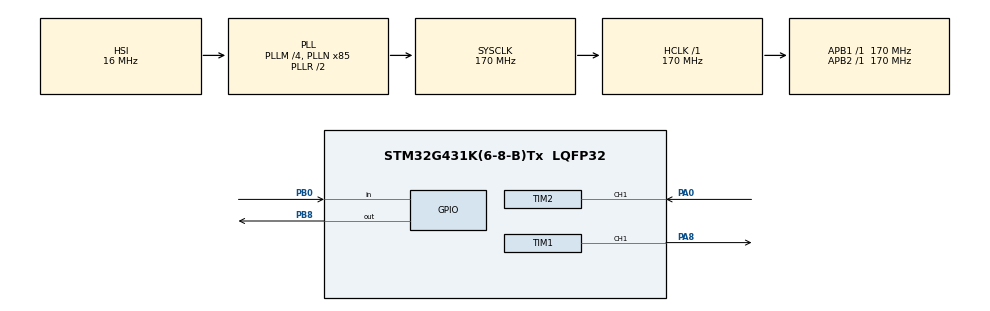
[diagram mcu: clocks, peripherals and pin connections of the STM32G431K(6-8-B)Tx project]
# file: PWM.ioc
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Dma.Request0=TIM1_CH1
Dma.TIM1_CH1.0.Direction=DMA_PERIPH_TO_MEMORY
Dma.TIM1_CH1.0.EventEnable=DISABLE
Dma.TIM1_CH1.0.Instance=DMA1_Channel1
Dma.TIM1_CH1.0.MemDataAlignment=DMA_MDATAALIGN_HALFWORD
Dma.TIM1_CH1.0.MemInc=DMA_MINC_ENABLE
Dma.TIM1_CH1.0.Mode=DMA_NORMAL
Dma.TIM1_CH1.0.PeriphDataAlignment=DMA_PDATAALIGN_HALFWORD
Dma.TIM1_CH1.0.PeriphInc=DMA_PINC_DISABLE
Dma.TIM1_CH1.0.Polarity=HAL_DMAMUX_REQ_GEN_RISING
Dma.TIM1_CH1.0.Priority=DMA_PRIORITY_LOW
Dma.TIM1_CH1.0.RequestNumber=1
Dma.TIM1_CH1.0.SignalID=NONE
Dma.TIM1_CH1.0.SyncEnable=DISABLE
Dma.TIM1_CH1.0.SyncPolarity=HAL_DMAMUX_SYNC_NO_EVENT
Dma.TIM1_CH1.0.SyncRequestNumber=1
Dma.TIM1_CH1.0.SyncSignalID=NONE
Mcu.Family=STM32G4
Mcu.Name=STM32G431K(6-8-B)Tx
Mcu.Package=LQFP32
NUCLEO-G431KB.LD2=true
NUCLEO-G431KB.VCP=true
NVIC.DMA1_Channel1_IRQn=true\:0\:0\:false\:false\:true\:false\:true\:true
NVIC.PriorityGroup=NVIC_PRIORITYGROUP_4
PA0.Signal=S_TIM2_CH1
PA13.GPIO_Label=T_SWDIO
PA13.Signal=SYS_JTMS-SWDIO
PA14.GPIO_Label=T_SWCLK
PA14.Signal=SYS_JTCK-SWCLK
PA2.Signal=USART2_TX
PA3.Signal=USART2_RX
PA8.Signal=S_TIM1_CH1
PB0.Signal=GPIO_Input
PB3.GPIO_Label=T_SWO
PB3.Signal=SYS_JTDO-SWO
PB8-BOOT0.Signal=GPIO_Output
ProjectManager.HeapSize=0x200
ProjectManager.StackSize=0x400
ProjectManager.TargetToolchain=STM32CubeIDE
RCC.ADC12Freq_Value=170000000
RCC.AHBFreq_Value=170000000
RCC.APB1Freq_Value=170000000
RCC.APB1TimFreq_Value=170000000
RCC.APB2Freq_Value=170000000
RCC.APB2TimFreq_Value=170000000
RCC.CortexFreq_Value=170000000
RCC.EXTERNAL_CLOCK_VALUE=12288000
RCC.HCLKFreq_Value=170000000
RCC.HSE_VALUE=8000000
RCC.HSI48_VALUE=48000000
RCC.HSI_VALUE=16000000
RCC.LSE_VALUE=32768
RCC.PLLM=RCC_PLLM_DIV4
RCC.PLLN=85
RCC.SYSCLKFreq_VALUE=170000000
RCC.SYSCLKSource=RCC_SYSCLKSOURCE_PLLCLK
RCC.USBFreq_Value=170000000
RCC.VCOOutputFreq_Value=340000000
SH.S_TIM1_CH1.0=TIM1_CH1,PWM Generation1 CH1
SH.S_TIM2_CH1.0=TIM2_CH1,PWM_Input_1
TIM1.Channel-PWM\ Generation1\ CH1=TIM_CHANNEL_1
TIM1.Prescaler=17000-1
VP_NUCLEO-G431KB_VS_BSP_COMMON.Mode=COMMON
VP_SYS_VS_DBSignals.Mode=DisableDeadBatterySignals
VP_TIM1_VS_ClockSourceINT.Mode=Internal
VP_TIM2_VS_ClockSourceINT.Mode=Internal
board=NUCLEO-G431KB

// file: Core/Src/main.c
/* USER CODE BEGIN Header */
/**
 ******************************************************************************
 * @file           : main.c
 * @brief          : Main program body
 ******************************************************************************
 * @attention
 *
 * Copyright (c) 2025 STMicroelectronics.
 * All rights reserved.
 *
 * This software is licensed under terms that can be found in the LICENSE file
 * in the root directory of this software component.
 * If no LICENSE file comes with this software, it is provided AS-IS.
 *
 ******************************************************************************
 */
/* USER CODE END Header */
#include "main.h"

COM_InitTypeDef BspCOMInit;

TIM_HandleTypeDef htim1;
TIM_HandleTypeDef htim2;
DMA_HandleTypeDef hdma_tim1_ch1;

/* USER CODE BEGIN PV */
uint32_t ICValue = 0;
uint32_t Frequency = 0;
float Duty = 0;
uint8_t test;
/* USER CODE END PV */

void SystemClock_Config(void);
static void MX_GPIO_Init(void);
static void MX_DMA_Init(void);
static void MX_TIM1_Init(void);
static void MX_TIM2_Init(void);

/* USER CODE BEGIN 0 */
void HAL_TIM_IC_CaptureCallback(TIM_HandleTypeDef* htim) {
    if (htim->Channel == HAL_TIM_ACTIVE_CHANNEL_1)  // If the interrupt is triggered by channel 1
            {
        // Read the IC value
        ICValue = HAL_TIM_ReadCapturedValue(htim, TIM_CHANNEL_1);

        if (ICValue != 0) {
            // calculate the Duty Cycle
            Duty = (HAL_TIM_ReadCapturedValue(htim, TIM_CHANNEL_2) * 100) / ICValue;

            Frequency = 170000000 / ICValue;
        }
    }
}
/* USER CODE END 0 */

int main(void) {

    /* USER CODE BEGIN 1 */
    uint8_t test2;
    HAL_Init();
    SystemClock_Config();  // System clock setup
    MX_GPIO_Init();        // GPIO init
    MX_TIM1_Init();        // Timer1 init with PWM

    /* USER CODE END 1 */

    /* MCU Configuration--------------------------------------------------------*/

    /* Reset of all peripherals, Initializes the Flash interface and the Systick. */
    HAL_Init();

    /* Configure the system clock */
    SystemClock_Config();

    /* Initialize all configured peripherals */
    MX_GPIO_Init();
    MX_DMA_Init();
    MX_TIM1_Init();
    MX_TIM2_Init();
    /* USER CODE BEGIN 2 */
    HAL_TIM_PWM_Start(&htim1, TIM_CHANNEL_1);
    HAL_TIM_IC_Start_IT(&htim2, TIM_CHANNEL_1);   // main channel
    HAL_TIM_IC_Start(&htim2, TIM_CHANNEL_2);   // indirect channel
    TIM1->CCR1 = 900;

    /* USER CODE END 2 */

    /* Initialize leds */
    BSP_LED_Init(LED_GREEN);

    /* Initialize COM1 port (115200, 8 bits (7-bit data + 1 stop bit), no parity */
    BspCOMInit.BaudRate = 115200;
    BspCOMInit.WordLength = COM_WORDLENGTH_8B;
    BspCOMInit.StopBits = COM_STOPBITS_1;
    BspCOMInit.Parity = COM_PARITY_NONE;
    BspCOMInit.HwFlowCtl = COM_HWCONTROL_NONE;
    if (BSP_COM_Init(COM1, &BspCOMInit) != BSP_ERROR_NONE) {
        Error_Handler();
    }

    /* Infinite loop */
    /* USER CODE BEGIN WHILE */
    while (1) {
        Frequency = Frequency;
        ICValue = ICValue;
        Duty = Duty;
        HAL_Delay(1000);

        /* USER CODE END WHILE */

    }
}

void SystemClock_Config(void) {
    RCC_OscInitTypeDef RCC_OscInitStruct = { 0 };
    RCC_ClkInitTypeDef RCC_ClkInitStruct = { 0 };

    /** Configure the main internal regulator output voltage
     */
    HAL_PWREx_ControlVoltageScaling(PWR_REGULATOR_VOLTAGE_SCALE1_BOOST);

    /** Initializes the RCC Oscillators according to the specified parameters
     * in the RCC_OscInitTypeDef structure.
     */
    RCC_OscInitStruct.OscillatorType = RCC_OSCILLATORTYPE_HSI;
    RCC_OscInitStruct.HSIState = RCC_HSI_ON;
    RCC_OscInitStruct.HSICalibrationValue = RCC_HSICALIBRATION_DEFAULT;
    RCC_OscInitStruct.PLL.PLLState = RCC_PLL_ON;
    RCC_OscInitStruct.PLL.PLLSource = RCC_PLLSOURCE_HSI;
    RCC_OscInitStruct.PLL.PLLM = RCC_PLLM_DIV4;
    RCC_OscInitStruct.PLL.PLLN = 85;
    RCC_OscInitStruct.PLL.PLLP = RCC_PLLP_DIV2;
    RCC_OscInitStruct.PLL.PLLQ = RCC_PLLQ_DIV2;
    RCC_OscInitStruct.PLL.PLLR = RCC_PLLR_DIV2;
    if (HAL_RCC_OscConfig(&RCC_OscInitStruct) != HAL_OK) {
        Error_Handler();
    }

    /** Initializes the CPU, AHB and APB buses clocks
     */
    RCC_ClkInitStruct.ClockType = RCC_CLOCKTYPE_HCLK | RCC_CLOCKTYPE_SYSCLK | RCC_CLOCKTYPE_PCLK1 | RCC_CLOCKTYPE_PCLK2;
    RCC_ClkInitStruct.SYSCLKSource = RCC_SYSCLKSOURCE_PLLCLK;
    RCC_ClkInitStruct.AHBCLKDivider = RCC_SYSCLK_DIV1;
    RCC_ClkInitStruct.APB1CLKDivider = RCC_HCLK_DIV1;
    RCC_ClkInitStruct.APB2CLKDivider = RCC_HCLK_DIV1;

    if (HAL_RCC_ClockConfig(&RCC_ClkInitStruct, FLASH_LATENCY_4) != HAL_OK) {
        Error_Handler();
    }
}

static void MX_TIM1_Init(void) {

    TIM_ClockConfigTypeDef sClockSourceConfig = { 0 };
    TIM_MasterConfigTypeDef sMasterConfig = { 0 };
    TIM_OC_InitTypeDef sConfigOC = { 0 };
    TIM_BreakDeadTimeConfigTypeDef sBreakDeadTimeConfig = { 0 };

    htim1.Instance = TIM1;
    htim1.Init.Prescaler = 1700 - 1;
    htim1.Init.CounterMode = TIM_COUNTERMODE_UP;
    htim1.Init.Period = 65535;
    htim1.Init.ClockDivision = TIM_CLOCKDIVISION_DIV1;
    htim1.Init.RepetitionCounter = 0;
    htim1.Init.AutoReloadPreload = TIM_AUTORELOAD_PRELOAD_DISABLE;
    if (HAL_TIM_Base_Init(&htim1) != HAL_OK) {
        Error_Handler();
    }
    sClockSourceConfig.ClockSource = TIM_CLOCKSOURCE_INTERNAL;
    if (HAL_TIM_ConfigClockSource(&htim1, &sClockSourceConfig) != HAL_OK) {
        Error_Handler();
    }
    if (HAL_TIM_PWM_Init(&htim1) != HAL_OK) {
        Error_Handler();
    }
    sMasterConfig.MasterOutputTrigger = TIM_TRGO_RESET;
    sMasterConfig.MasterOutputTrigger2 = TIM_TRGO2_RESET;
    sMasterConfig.MasterSlaveMode = TIM_MASTERSLAVEMODE_DISABLE;
    if (HAL_TIMEx_MasterConfigSynchronization(&htim1, &sMasterConfig) != HAL_OK) {
        Error_Handler();
    }
    sConfigOC.OCMode = TIM_OCMODE_PWM1;
    sConfigOC.Pulse = 0;
    sConfigOC.OCPolarity = TIM_OCPOLARITY_HIGH;
    sConfigOC.OCNPolarity = TIM_OCNPOLARITY_HIGH;
    sConfigOC.OCFastMode = TIM_OCFAST_DISABLE;
    sConfigOC.OCIdleState = TIM_OCIDLESTATE_RESET;
    sConfigOC.OCNIdleState = TIM_OCNIDLESTATE_RESET;
    if (HAL_TIM_PWM_ConfigChannel(&htim1, &sConfigOC, TIM_CHANNEL_1) != HAL_OK) {
        Error_Handler();
    }
    sBreakDeadTimeConfig.OffStateRunMode = TIM_OSSR_DISABLE;
    sBreakDeadTimeConfig.OffStateIDLEMode = TIM_OSSI_DISABLE;
    sBreakDeadTimeConfig.LockLevel = TIM_LOCKLEVEL_OFF;
    sBreakDeadTimeConfig.DeadTime = 0;
    sBreakDeadTimeConfig.BreakState = TIM_BREAK_DISABLE;
    sBreakDeadTimeConfig.BreakPolarity = TIM_BREAKPOLARITY_HIGH;
    sBreakDeadTimeConfig.BreakFilter = 0;
    sBreakDeadTimeConfig.BreakAFMode = TIM_BREAK_AFMODE_INPUT;
    sBreakDeadTimeConfig.Break2State = TIM_BREAK2_DISABLE;
    sBreakDeadTimeConfig.Break2Polarity = TIM_BREAK2POLARITY_HIGH;
    sBreakDeadTimeConfig.Break2Filter = 0;
    sBreakDeadTimeConfig.Break2AFMode = TIM_BREAK_AFMODE_INPUT;
    sBreakDeadTimeConfig.AutomaticOutput = TIM_AUTOMATICOUTPUT_DISABLE;
    if (HAL_TIMEx_ConfigBreakDeadTime(&htim1, &sBreakDeadTimeConfig) != HAL_OK) {
        Error_Handler();
    }
    HAL_TIM_MspPostInit(&htim1);

}

static void MX_TIM2_Init(void) {

    TIM_ClockConfigTypeDef sClockSourceConfig = { 0 };
    TIM_SlaveConfigTypeDef sSlaveConfig = { 0 };
    TIM_IC_InitTypeDef sConfigIC = { 0 };
    TIM_MasterConfigTypeDef sMasterConfig = { 0 };

    htim2.Instance = TIM2;
    htim2.Init.Prescaler = 0;
    htim2.Init.CounterMode = TIM_COUNTERMODE_UP;
    htim2.Init.Period = 4294967295;
    htim2.Init.ClockDivision = TIM_CLOCKDIVISION_DIV1;
    htim2.Init.AutoReloadPreload = TIM_AUTORELOAD_PRELOAD_DISABLE;
    if (HAL_TIM_Base_Init(&htim2) != HAL_OK) {
        Error_Handler();
    }
    sClockSourceConfig.ClockSource = TIM_CLOCKSOURCE_INTERNAL;
    if (HAL_TIM_ConfigClockSource(&htim2, &sClockSourceConfig) != HAL_OK) {
        Error_Handler();
    }
    if (HAL_TIM_IC_Init(&htim2) != HAL_OK) {
        Error_Handler();
    }
    sSlaveConfig.SlaveMode = TIM_SLAVEMODE_RESET;
    sSlaveConfig.InputTrigger = TIM_TS_TI1FP1;
    sSlaveConfig.TriggerPolarity = TIM_INPUTCHANNELPOLARITY_RISING;
    sSlaveConfig.TriggerPrescaler = TIM_ICPSC_DIV1;
    sSlaveConfig.TriggerFilter = 0;
    if (HAL_TIM_SlaveConfigSynchro(&htim2, &sSlaveConfig) != HAL_OK) {
        Error_Handler();
    }
    sConfigIC.ICPolarity = TIM_INPUTCHANNELPOLARITY_RISING;
    sConfigIC.ICSelection = TIM_ICSELECTION_DIRECTTI;
    sConfigIC.ICPrescaler = TIM_ICPSC_DIV1;
    sConfigIC.ICFilter = 0;
    if (HAL_TIM_IC_ConfigChannel(&htim2, &sConfigIC, TIM_CHANNEL_1) != HAL_OK) {
        Error_Handler();
    }
    sConfigIC.ICPolarity = TIM_INPUTCHANNELPOLARITY_FALLING;
    sConfigIC.ICSelection = TIM_ICSELECTION_INDIRECTTI;
    if (HAL_TIM_IC_ConfigChannel(&htim2, &sConfigIC, TIM_CHANNEL_2) != HAL_OK) {
        Error_Handler();
    }
    sMasterConfig.MasterOutputTrigger = TIM_TRGO_RESET;
    sMasterConfig.MasterSlaveMode = TIM_MASTERSLAVEMODE_DISABLE;
    if (HAL_TIMEx_MasterConfigSynchronization(&htim2, &sMasterConfig) != HAL_OK) {
        Error_Handler();
    }

}

static void MX_DMA_Init(void) {

    /* DMA controller clock enable */
    __HAL_RCC_DMAMUX1_CLK_ENABLE();
    __HAL_RCC_DMA1_CLK_ENABLE();

    /* DMA interrupt init */
    /* DMA1_Channel1_IRQn interrupt configuration */
    HAL_NVIC_SetPriority(DMA1_Channel1_IRQn, 0, 0);
    HAL_NVIC_EnableIRQ(DMA1_Channel1_IRQn);

}

static void MX_GPIO_Init(void) {
    GPIO_InitTypeDef GPIO_InitStruct = { 0 };

    /* GPIO Ports Clock Enable */
    __HAL_RCC_GPIOA_CLK_ENABLE();
    __HAL_RCC_GPIOB_CLK_ENABLE();

    /*Configure GPIO pin Output Level */
    HAL_GPIO_WritePin(GPIOB, GPIO_PIN_8, GPIO_PIN_RESET);

    /*Configure GPIO pin : PB0 */
    GPIO_InitStruct.Pin = GPIO_PIN_0;
    GPIO_InitStruct.Mode = GPIO_MODE_INPUT;
    GPIO_InitStruct.Pull = GPIO_NOPULL;
    HAL_GPIO_Init(GPIOB, &GPIO_InitStruct);

    /*Configure GPIO pin : PB8 */
    GPIO_InitStruct.Pin = GPIO_PIN_8;
    GPIO_InitStruct.Mode = GPIO_MODE_OUTPUT_PP;
    GPIO_InitStruct.Pull = GPIO_NOPULL;
    GPIO_InitStruct.Speed = GPIO_SPEED_FREQ_LOW;
    HAL_GPIO_Init(GPIOB, &GPIO_InitStruct);

}

/* USER CODE BEGIN Header */
/**
 ******************************************************************************
 * @file           : main.c
 * @brief          : Main program body
 ******************************************************************************
 * @attention
 *
 * Copyright (c) 2025 STMicroelectronics.
 * All rights reserved.
 *
 * This software is licensed under terms that can be found in the LICENSE file
 * in the root directory of this software component.
 * If no LICENSE file comes with this software, it is provided AS-IS.
 *
 ******************************************************************************
 */
/* USER CODE END Header */

void Error_Handler(void) {
    __disable_irq();
    while (1) {
    }
}
